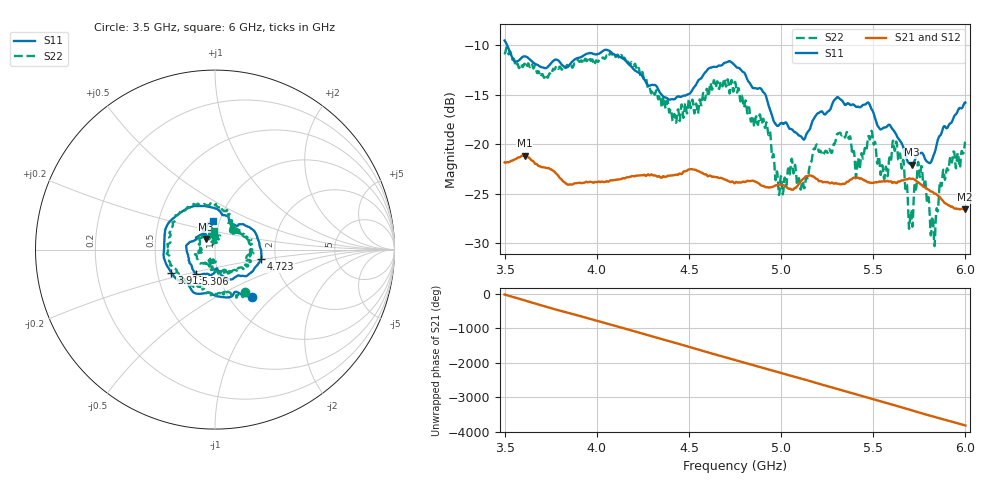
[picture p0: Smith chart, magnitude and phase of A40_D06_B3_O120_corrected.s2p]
! Created with skrf 1.9.0 (http://scikit-rf.org).
# Hz S RI R 50.0
!freq ReS11 ImS11 ReS21 ImS21 ReS12 ImS12 ReS22 ImS22
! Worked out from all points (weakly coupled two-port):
!   1601 points, 3.5 GHz to 6 GHz, reference 50 ohm
!   highest |S21| = -21.17 dB at 3.609 GHz (marker M1); lowest = -26.6 dB at 5.998 GHz (marker M2)
!   lowest |S11| = -22.1 dB at 5.709 GHz (marker M3), VSWR 1.17, Z = 44.8 + j5.36 ohm
!   |S11| at or under -10 dB: 3.513 GHz to end of sweep
!   |S22| runs from -30.3 to -10.3 dB; largest |S21 - S12| = 0.00095
!   S11 on the Smith chart (normalised r, x): 3.5 GHz: 1.27, -0.75; 3.913 GHz: 0.59, -0.16; 4.723 GHz: 1.68, -0.19; 5.306 GHz: 0.78, -0.22; 6 GHz: 0.93, +0.31
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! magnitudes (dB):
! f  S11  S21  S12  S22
! 3.5 GHz  -9.5  -21.9  -21.8  -10.8
! 3.609 GHz  -11.1  -21.2  -21.2  -11.9
! 3.913 GHz  -11.2  -23.9  -23.9  -11.6
! 3.917 GHz  -11.2  -23.9  -23.9  -11.6
! 4.141 GHz  -11.3  -23.5  -23.4  -11.3
! 4.334 GHz  -14.5  -23.3  -23.2  -15.5
! 4.422 GHz  -15.5  -23.1  -23.1  -17.0
! 4.723 GHz  -11.6  -23.8  -23.8  -14.6
! 4.75 GHz  -12.1  -23.9  -23.8  -13.7
! 4.93 GHz  -15.9  -24.4  -24.3  -18.9
! 4.998 GHz  -17.9  -24.1  -24.1  -23.2
! 5.167 GHz  -17.8  -23.2  -23.2  -21.6
! 5.306 GHz  -15.3  -24.0  -23.9  -18.9
! 5.414 GHz  -16.2  -23.4  -23.4  -21.7
! 5.584 GHz  -18.1  -23.8  -23.7  -21.9
! 5.619 GHz  -18.8  -23.9  -23.8  -20.6
! 5.709 GHz  -22.1  -23.5  -23.4  -27.8
! 5.753 GHz  -21.0  -24.0  -23.9  -23.3
! 5.823 GHz  -21.4  -24.9  -24.8  -27.4
! 5.872 GHz  -18.8  -25.6  -25.5  -24.0
! 5.998 GHz  -15.8  -26.6  -26.5  -19.8
! 6 GHz  -15.8  -26.6  -26.5  -19.8
